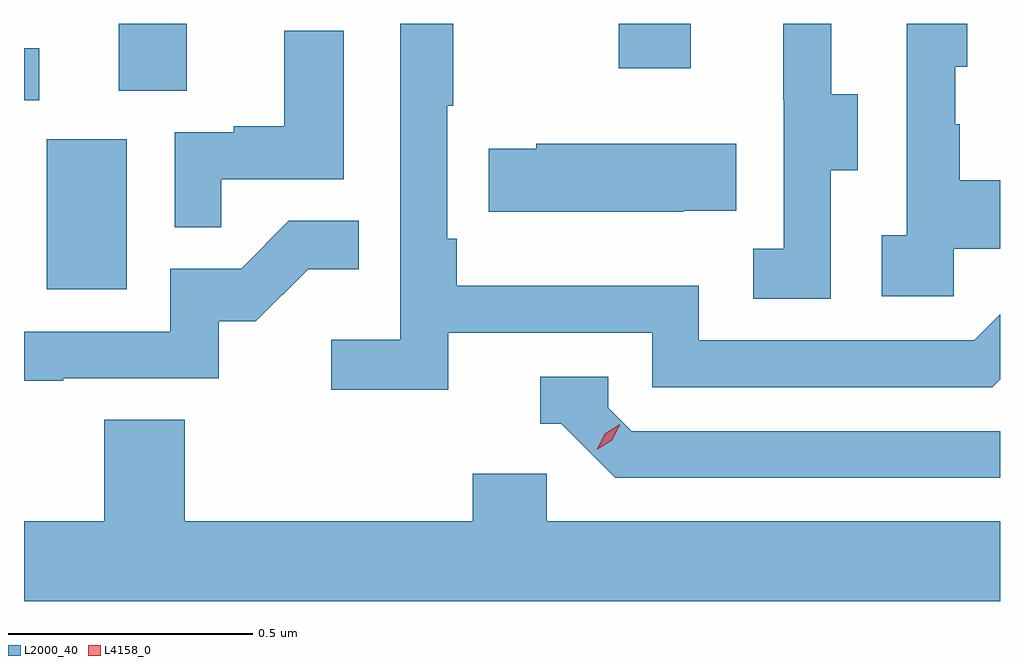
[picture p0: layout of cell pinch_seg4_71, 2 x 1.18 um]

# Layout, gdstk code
import gdstk
lib = gdstk.Library(unit=1e-6, precision=1e-09)
def R(c, l, rs):  # rectangles x0, y0, x1, y1
    for r in rs: c.add(gdstk.rectangle(r[:2], r[2:], *l))
def P(c, l, *ps):  # polygons
    for p in ps: c.add(gdstk.Polygon(p, *l))
L2000_40 = (2000, 40)
L4158_0 = (4158, 0)

pinch_seg4_71 = lib.new_cell('pinch_seg4_71')
R(pinch_seg4_71, L2000_40, [(1040.888,816.108,1041.052,816.415), (1040.841,816.495,1040.872,816.601), (1041.035,816.514,1041.175,816.652), (1042.06,816.561,1042.207,816.652)])
P(pinch_seg4_71, L2000_40, [(1042.494,816.352),(1042.549,816.352),(1042.549,816.507),(1042.495,816.507),(1042.495,816.652),(1042.397,816.652),(1042.397,816.495),(1042.398,816.495),(1042.398,816.191),(1042.335,816.191),(1042.335,816.088),(1042.494,816.088)],
  [(1041.71,816.018),(1042.128,816.018),(1042.128,815.907),(1042.825,815.907),(1042.841,815.923),(1042.841,816.056),(1042.788,816.003),(1042.224,816.003),(1042.224,816.115),(1041.728,816.115),(1041.728,816.211),(1041.708,816.211),(1041.708,816.484),(1041.721,816.484),(1041.721,816.652),(1041.612,816.652),(1041.612,816.004),(1041.471,816.004),(1041.471,815.902),(1041.71,815.902)],
  [(1042.746,816.191),(1042.841,816.191),(1042.841,816.331),(1042.759,816.331),(1042.759,816.446),(1042.749,816.446),(1042.749,816.564),(1042.774,816.564),(1042.774,816.652),(1042.65,816.652),(1042.65,816.218),(1042.599,816.218),(1042.599,816.093),(1042.746,816.093)],
  [(1041.245,816.333),(1041.496,816.333),(1041.496,816.637),(1041.374,816.637),(1041.374,816.442),(1041.271,816.442),(1041.271,816.429),(1041.15,816.429),(1041.15,816.235),(1041.245,816.235)],
  [(1042.193,816.269),(1042.301,816.269),(1042.301,816.406),(1041.891,816.406),(1041.891,816.396),(1041.793,816.396),(1041.793,816.266),(1042.193,816.266)],
  [(1040.921,815.925),(1041.24,815.925),(1041.24,816.042),(1041.316,816.042),(1041.423,816.149),(1041.527,816.149),(1041.527,816.248),(1041.384,816.248),(1041.286,816.15),(1041.141,816.15),(1041.141,816.021),(1040.841,816.021),(1040.841,815.92),(1040.921,815.92)],
  [(1042.841,815.817),(1042.086,815.817),(1042.038,815.865),(1042.038,815.928),(1041.899,815.928),(1041.899,815.832),(1041.942,815.832),(1042.053,815.721),(1042.841,815.721)],
  [(1042.841,815.632),(1041.912,815.632),(1041.912,815.73),(1041.761,815.73),(1041.761,815.632),(1041.17,815.632),(1041.17,815.84),(1041.005,815.84),(1041.005,815.632),(1040.841,815.632),(1040.841,815.468),(1042.841,815.468)])
P(pinch_seg4_71, L4158_0, [(1042.015,815.779),(1042.015,815.779),(1042.031,815.812),(1042.062,815.831),(1042.062,815.831),(1042.062,815.83),(1042.046,815.798),(1042.015,815.779)])

lib.write_gds('pinch_seg4_71.gds')
